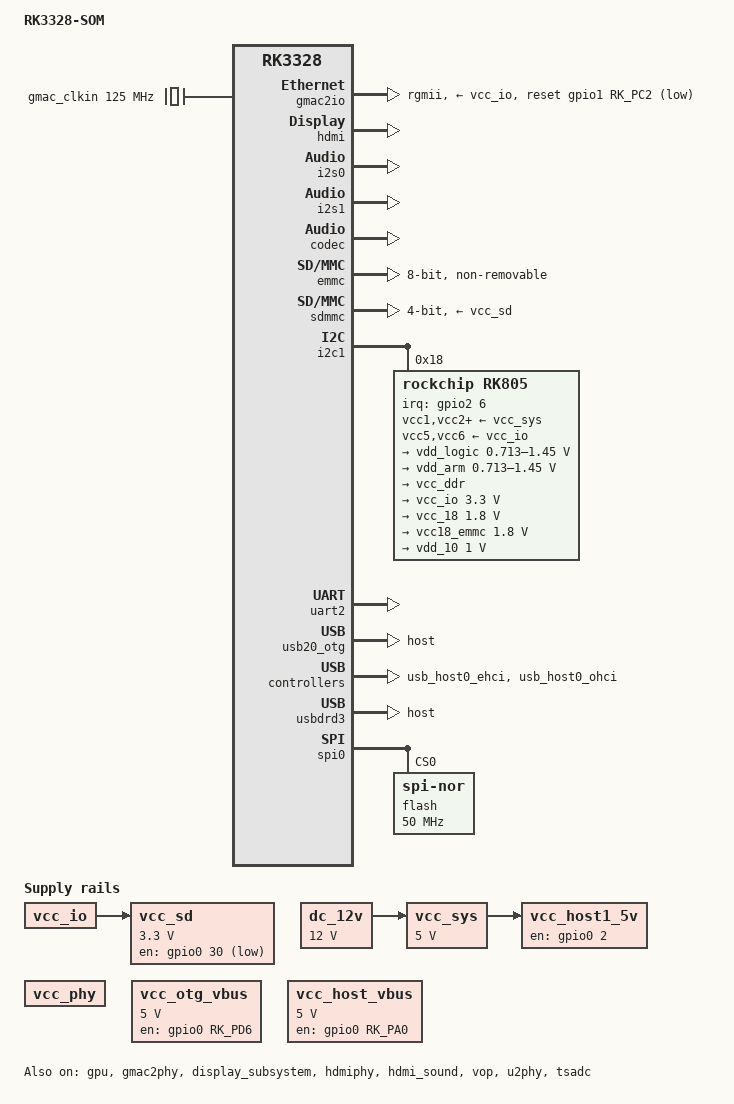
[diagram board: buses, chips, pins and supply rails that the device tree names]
// SPDX-License-Identifier: (GPL-2.0+ OR MIT)

/dts-v1/;
#include "rk3328.dtsi"

/ {
	model = "RK3328-SOM";
	compatible = "olimex,rk3328-som", "rockchip,rk3328";

	aliases {
		mmc0 = &sdmmc;
		mmc2 = &emmc;
		ethernet0 = &gmac2io;
		ethernet1 = &gmac2phy;
	};

	chosen {
		stdout-path = "serial2:1500000n8";
	};

	dc_12v: dc-12v {
		compatible = "regulator-fixed";
		regulator-name = "dc_12v";
		regulator-always-on;
		regulator-boot-on;
		regulator-min-microvolt = <12000000>;
		regulator-max-microvolt = <12000000>;
	};

	vcc_sd: sdmmc-regulator {
		compatible = "regulator-fixed";
		gpio = <&gpio0 30 GPIO_ACTIVE_LOW>;
		pinctrl-names = "default";
		//pinctrl-0 = <&sdmmc0m1_pin>;
		pinctrl-0 = <&sdmmc0m0_pin>;
		regulator-name = "vcc_sd";
		regulator-min-microvolt = <3300000>;
		regulator-max-microvolt = <3300000>;
		vin-supply = <&vcc_io>;
	};

	vcc_sys: vcc-sys {
		compatible = "regulator-fixed";
		regulator-name = "vcc_sys";
		regulator-always-on;
		regulator-boot-on;
		regulator-min-microvolt = <5000000>;
		regulator-max-microvolt = <5000000>;
		vin-supply = <&dc_12v>;
	};

	vcc_phy: vcc-phy-regulator {
		compatible = "regulator-fixed";
		regulator-name = "vcc_phy";
		regulator-always-on;
		regulator-boot-on;
	};

	gmac_clkin: external-gmac-clock {
		compatible = "fixed-clock";
		clock-frequency = <125000000>;
		clock-output-names = "gmac_clkin";
		#clock-cells = <0>;
	};

	vcc_host1_5v: vcc-host1-5v-regulator {
		compatible = "regulator-fixed";
		enable-active-high;
		gpio = <&gpio0 2 GPIO_ACTIVE_HIGH>;
		pinctrl-names = "default";
		pinctrl-0 = <&usb20_host_drv>;
		regulator-name = "vcc_host1_5v";
		regulator-always-on;
		vin-supply = <&vcc_sys>;
	};

	vcc_otg_vbus: otg-vbus-regulator {
		compatible = "regulator-fixed";
		gpio = <&gpio0 RK_PD6 GPIO_ACTIVE_HIGH>;
		pinctrl-names = "default";
		pinctrl-0 = <&otg_host_drv>;
		regulator-name = "otg_host_drv";
		regulator-min-microvolt = <5000000>;
		regulator-max-microvolt = <5000000>;
		enable-active-high;
	};

	vcc_host_vbus: host-vbus-regulator {
		compatible = "regulator-fixed";
		gpio = <&gpio0 RK_PA0 GPIO_ACTIVE_HIGH>;
		pinctrl-names = "default";
		pinctrl-0 = <&host_vbus_drv>;
		regulator-name = "vcc_host_vbus";
		regulator-min-microvolt = <5000000>;
		regulator-max-microvolt = <5000000>;
		enable-active-high;
		regulator-always-on;
	};
};

&cpu0 {
	cpu-supply = <&vdd_arm>;
};

&cpu1 {
	cpu-supply = <&vdd_arm>;
};

&cpu2 {
	cpu-supply = <&vdd_arm>;
};

&cpu3 {
	cpu-supply = <&vdd_arm>;
};

&gpu {
	status = "okay";
	mali-supply = <&vdd_logic>;
};

&gmac2phy {
	phy-supply = <&vcc_phy>;
	clock_in_out = "output";
	status = "okay";
};

&gmac2io {
	phy-supply = <&vcc_io>;
	phy-mode = "rgmii";
	clock_in_out = "input";
	snps,reset-gpio = <&gpio1 RK_PC2 GPIO_ACTIVE_LOW>;
	snps,reset-active-low;
	snps,reset-delays-us = <0 10000 50000>;
	assigned-clocks = <&cru SCLK_MAC2IO>, <&cru SCLK_MAC2IO_EXT>;
	assigned-clock-parents = <&gmac_clkin>, <&gmac_clkin>;
	pinctrl-names = "default";
	pinctrl-0 = <&rgmiim1_pins>;
	tx_delay = <0x12>;
	rx_delay = <0x16>;
	status = "okay";
};

&display_subsystem {
	status = "okay";
};

&hdmi {
	#sound-dai-cells = <0>;
	ddc-i2c-scl-high-time-ns = <9625>;
	ddc-i2c-scl-low-time-ns = <10000>;
	status = "okay";
};

&hdmiphy {
	status = "okay";
};

&hdmi_sound {
	status = "okay";
};

/* &vdec {
	status = "okay";
}; */

&vop {
	status = "okay";
};

&vop_mmu {
	status = "okay";
};

&i2s0 {
	#sound-dai-cells = <0>;
	rockchip,bclk-fs = <128>;
	status = "okay";
};

&i2s1 {
	#sound-dai-cells = <0>;
	status = "okay";
};

&codec {
	status = "okay";
};

&emmc {
	bus-width = <8>;
	cap-mmc-highspeed;
	non-removable;
	pinctrl-names = "default";
	pinctrl-0 = <&emmc_clk &emmc_cmd &emmc_bus8>;
	status = "okay";
};

&sdmmc {
	bus-width = <4>;
	cap-mmc-highspeed;
	cap-sd-highspeed;
	disable-wp;
	max-frequency = <150000000>;
	pinctrl-names = "default";
	pinctrl-0 = <&sdmmc0_clk &sdmmc0_cmd &sdmmc0_dectn &sdmmc0_bus4>;
	vmmc-supply = <&vcc_sd>;
	status = "okay";
};

&i2c1 {
	status = "okay";

	rk805: pmic@18 {
		compatible = "rockchip,rk805";
		reg = <0x18>;
		interrupt-parent = <&gpio2>;
		interrupts = <6 IRQ_TYPE_LEVEL_LOW>;
		#clock-cells = <1>;
		clock-output-names = "xin32k", "rk805-clkout2";
		gpio-controller;
		#gpio-cells = <2>;
		pinctrl-names = "default";
		pinctrl-0 = <&pmic_int_l>;
		rockchip,system-power-controller;
		wakeup-source;

		vcc1-supply = <&vcc_sys>;
		vcc2-supply = <&vcc_sys>;
		vcc3-supply = <&vcc_sys>;
		vcc4-supply = <&vcc_sys>;
		vcc5-supply = <&vcc_io>;
		vcc6-supply = <&vcc_io>;

		regulators {
			vdd_logic: DCDC_REG1 {
				regulator-name = "vdd_logic";
				regulator-min-microvolt = <712500>;
				regulator-max-microvolt = <1450000>;
				regulator-always-on;
				regulator-boot-on;
				regulator-state-mem {
					regulator-on-in-suspend;
					regulator-suspend-microvolt = <1000000>;
				};
			};

			vdd_arm: DCDC_REG2 {
				regulator-name = "vdd_arm";
				regulator-min-microvolt = <712500>;
				regulator-max-microvolt = <1450000>;
				regulator-always-on;
				regulator-boot-on;
				regulator-state-mem {
					regulator-on-in-suspend;
					regulator-suspend-microvolt = <950000>;
				};
			};

			vcc_ddr: DCDC_REG3 {
				regulator-name = "vcc_ddr";
				regulator-always-on;
				regulator-boot-on;
				regulator-state-mem {
					regulator-on-in-suspend;
				};
			};

			vcc_io: DCDC_REG4 {
				regulator-name = "vcc_io";
				regulator-min-microvolt = <3300000>;
				regulator-max-microvolt = <3300000>;
				regulator-always-on;
				regulator-boot-on;
				regulator-state-mem {
					regulator-on-in-suspend;
					regulator-suspend-microvolt = <3300000>;
				};
			};

			vcc_18: LDO_REG1 {
				regulator-name = "vcc_18";
				regulator-min-microvolt = <1800000>;
				regulator-max-microvolt = <1800000>;
				regulator-always-on;
				regulator-boot-on;
				regulator-state-mem {
					regulator-on-in-suspend;
					regulator-suspend-microvolt = <1800000>;
				};
			};

			vcc18_emmc: LDO_REG2 {
				regulator-name = "vcc18_emmc";
				regulator-min-microvolt = <1800000>;
				regulator-max-microvolt = <1800000>;
				regulator-always-on;
				regulator-boot-on;
				regulator-state-mem {
					regulator-on-in-suspend;
					regulator-suspend-microvolt = <1800000>;
				};
			};

			vdd_10: LDO_REG3 {
				regulator-name = "vdd_10";
				regulator-min-microvolt = <1000000>;
				regulator-max-microvolt = <1000000>;
				regulator-always-on;
				regulator-boot-on;
				regulator-state-mem {
					regulator-on-in-suspend;
					regulator-suspend-microvolt = <1000000>;
				};
			};
		};
	};
};

&pinctrl {
	pmic {
		pmic_int_l: pmic-int-l {
			rockchip,pins = <2 RK_PA6 RK_FUNC_GPIO &pcfg_pull_up>;
		};
	};

	usb {
		host_vbus_drv: host-vbus-drv {
			rockchip,pins = <0 RK_PA0 RK_FUNC_GPIO &pcfg_pull_none>;
		};
	};

	usb2 {
		usb20_host_drv: usb20-host-drv {
			rockchip,pins = <0 RK_PA2 RK_FUNC_GPIO &pcfg_pull_none>;
		};
	};

	usb2 {
		otg_host_drv: otg-host-drv {
			rockchip,pins = <0 RK_PD6 RK_FUNC_GPIO &pcfg_pull_none>;
		};
	};

};

&u2phy {
	status = "okay";

	u2phy_host: host-port {
		//phy-supply = <&vcc_host1_5v>;
		status = "okay";
	};

	u2phy_otg: otg-port {
		//vbus-supply = <&vcc_otg_vbus>;
		status = "okay";
	};
};

&u2phy_host {
	status = "okay";
};

&u2phy_otg {
	status = "okay";
};

&uart2 {
	status = "okay";
};

&usb20_otg {
	dr_mode = "host";
	status = "okay";
};

&usb_host0_ehci {
	status = "okay";
};

&usb_host0_ohci {
	status = "okay";
};

&usbdrd3 {
	dr_mode = "host";
	status = "okay";
};

&tsadc {
	status = "okay";
};

&spi0 {
	status = "okay";

	flash@0 {
		compatible = "jedec,spi-nor";
		#address-cells = <1>;
		#size-cells = <1>;
		reg = <0>;
		spi-max-frequency = <50000000>;
		status = "okay";
	};
};
